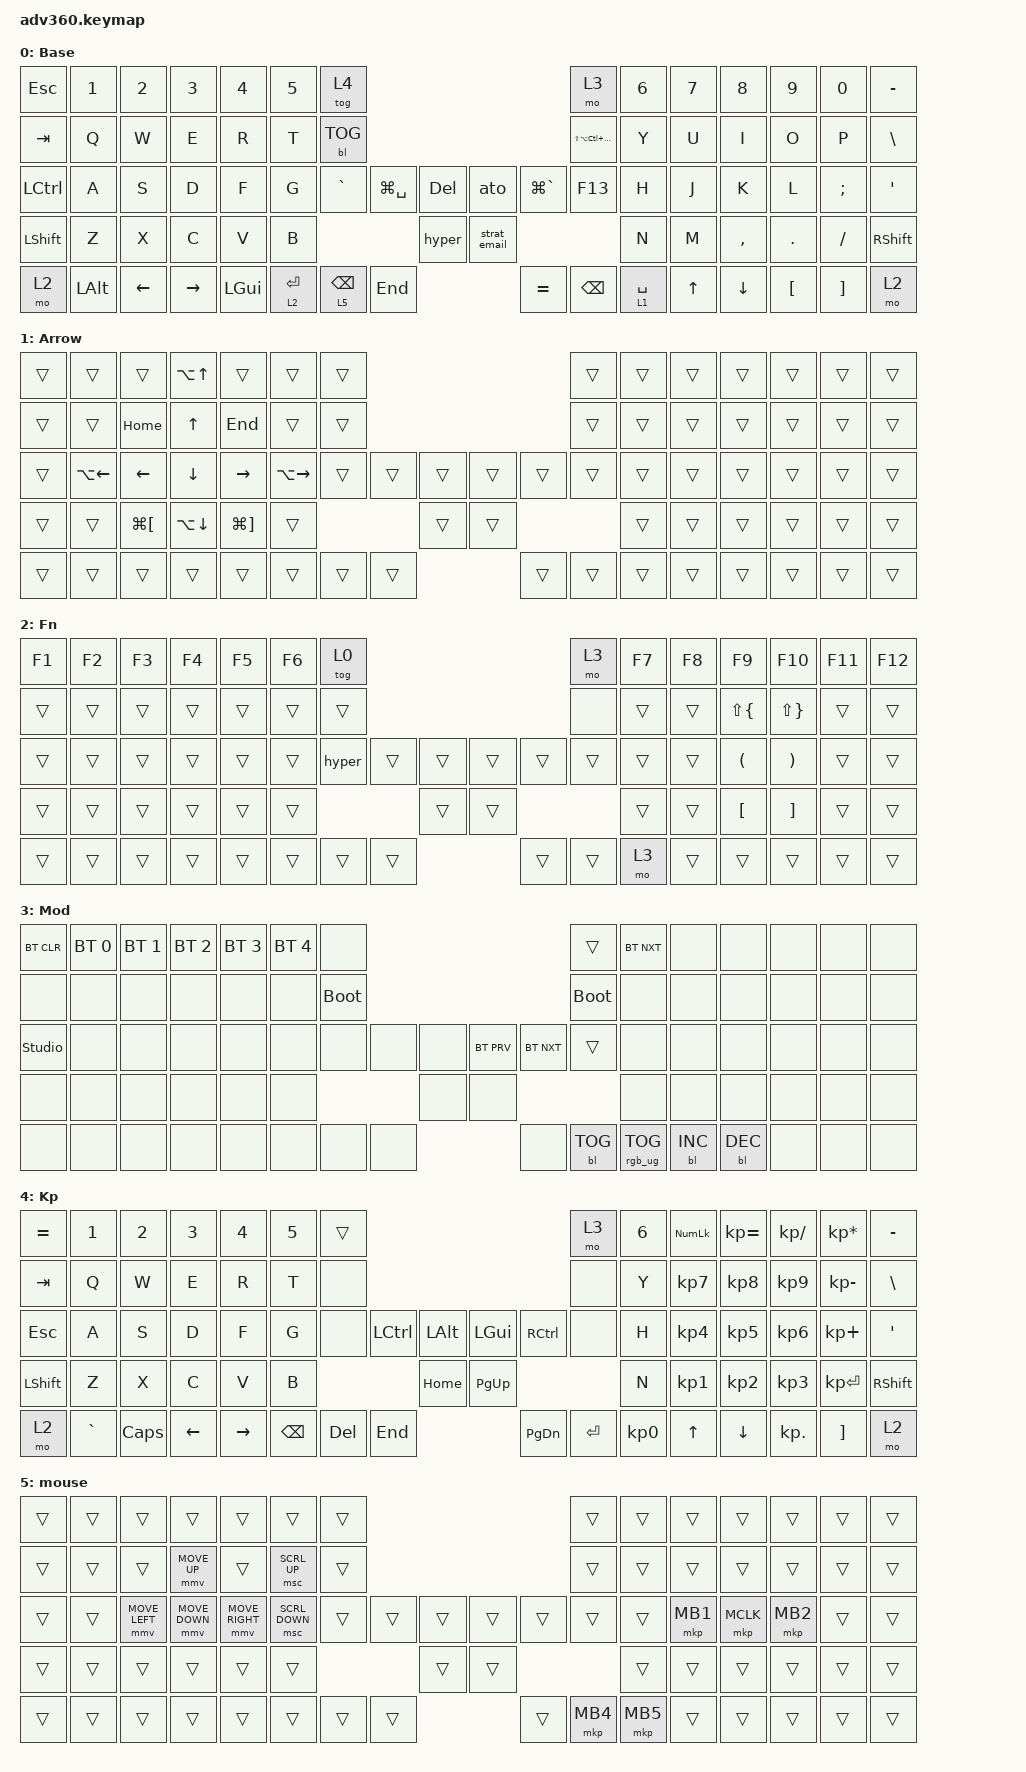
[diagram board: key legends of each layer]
#include <dt-bindings/zmk/stp.h>
#include <behaviors.dtsi>
#include <dt-bindings/zmk/backlight.h>
#include <dt-bindings/zmk/bt.h>
#include <dt-bindings/zmk/keys.h>
#include <dt-bindings/zmk/pointing.h>
#include <dt-bindings/zmk/rgb.h>

/ {
    behaviors {
        #include "macros.dtsi"
      #include "version.dtsi"

        hm: homerow_mods {
            compatible = "zmk,behavior-hold-tap";
            label = "HOMEROW_MODS";
            #binding-cells = <2>;
            tapping-term-ms = <200>;
            quick_tap_ms = <175>;
            flavor = "tap-preferred";
            bindings = <&kp>, <&kp>;
        };
    };

    macros {
        tg: tg {
            compatible = "zmk,behavior-macro";
            #binding-cells = <0>;
            bindings = <&kp LS(T) &kp LS(G) &kp LS(G) &kp LS(U)>;
            label = "TG";
        };

        strat_email: strat_email {
            compatible = "zmk,behavior-macro";
            #binding-cells = <0>;
            bindings = <&kp A &kp N &kp D &kp R &kp E &kp W &kp DOT &kp T &kp H &kp O &kp M &kp P &kp S &kp O &kp N &kp AT &kp S &kp T &kp R &kp A &kp T &kp I &kp F &kp O &kp R &kp M &kp DOT &kp D &kp I &kp G &kp I &kp T &kp A &kp L>;
            label = "STRAT_EMAIL";
        };

        ato: ato {
            compatible = "zmk,behavior-macro";
            #binding-cells = <0>;
            bindings = <&kp A &kp N &kp D &kp R &kp E &kp W &kp DOT &kp M &kp DOT &kp T &kp H &kp O &kp M &kp P &kp S &kp O &kp N &kp AT &kp O &kp U &kp T &kp L &kp O &kp O &kp K &kp DOT &kp C &kp O &kp M>;
            label = "ATO";
        };

        hyper: hyper {
            compatible = "zmk,behavior-macro";
            #binding-cells = <0>;
            bindings = <&kp LA(LC(LG(LEFT_SHIFT)))>, <&macro_press>;

            label = "HYPER";
        };
    };

    keymap {
        compatible = "zmk,keymap";

        Base {
            display-name = "Base";
            bindings = <
&kp ESC    &kp N1        &kp N2    &kp N3     &kp N4        &kp N5  &tog 4                                                                                            &mo 3                  &kp N6  &kp N7  &kp N8     &kp N9    &kp N0    &kp MINUS
&kp TAB    &kp Q         &kp W     &kp E      &kp R         &kp T   &bl BL_TOG                                                                                        &kp LS(LA(LC(LG(W))))  &kp Y   &kp U   &kp I      &kp O     &kp P     &kp BSLH
&kp LCTRL  &kp A         &kp S     &kp D      &kp F         &kp G   &kp GRAVE                &kp LG(SPACE)    &kp DELETE    &ato          &kp LG(GRAVE)               &kp F13                &kp H   &kp J   &kp K      &kp L     &kp SEMI  &kp SQT
&kp LSHFT  &kp Z         &kp X     &kp C      &kp V         &kp B                                             &hyper        &strat_email                                                     &kp N   &kp M   &kp COMMA  &kp DOT   &kp FSLH  &kp RSHFT
&mo 2      &kp LEFT_ALT  &kp LEFT  &kp RIGHT  &kp LEFT_GUI                      &lt 2 ENTER  &lt 5 BACKSPACE  &kp END       &kp EQUAL     &kp BACKSPACE  &lt 1 SPACE                                 &kp UP  &kp DOWN   &kp LBKT  &kp RBKT  &mo 2
            >;
        };

        Arrow {
            bindings = <
&trans  &trans        &trans                &kp LA(UP)    &trans                 &trans         &trans                                                    &trans  &trans  &trans  &trans  &trans  &trans  &trans
&trans  &trans        &kp HOME              &kp UP        &kp END                &trans         &trans                                                    &trans  &trans  &trans  &trans  &trans  &trans  &trans
&trans  &kp LA(LEFT)  &kp LEFT              &kp DOWN      &kp RIGHT              &kp LA(RIGHT)  &trans          &trans  &trans    &trans  &trans          &trans  &trans  &trans  &trans  &trans  &trans  &trans
&trans  &trans        &kp LG(LEFT_BRACKET)  &kp LA(DOWN)  &kp LG(RIGHT_BRACKET)  &trans                                 &trans    &trans                          &trans  &trans  &trans  &trans  &trans  &trans
&trans  &trans        &trans                &trans        &trans                                        &trans  &trans  &trans    &trans  &trans  &trans                  &trans  &trans  &trans  &trans  &trans
            >;
        };

        fn {
            display-name = "Fn";
            bindings = <
&kp F1  &kp F2  &kp F3  &kp F4  &kp F5  &kp F6  &tog 0                                                   &mo 3   &kp F7  &kp F8  &kp F9                &kp F10                &kp F11  &kp F12
&trans  &trans  &trans  &trans  &trans  &trans  &trans                                                   &none   &trans  &trans  &kp LS(LEFT_BRACE)    &kp LS(RIGHT_BRACE)    &trans   &trans
&trans  &trans  &trans  &trans  &trans  &trans  &hyper          &trans  &trans    &trans  &trans         &trans  &trans  &trans  &kp LEFT_PARENTHESIS  &kp RIGHT_PARENTHESIS  &trans   &trans
&trans  &trans  &trans  &trans  &trans  &trans                          &trans    &trans                         &trans  &trans  &kp LEFT_BRACKET      &kp RIGHT_BRACKET      &trans   &trans
&trans  &trans  &trans  &trans  &trans                  &trans  &trans  &trans    &trans  &trans  &mo 3                  &trans  &trans                &trans                 &trans   &trans
            >;
        };

        mod {
            display-name = "Mod";
            bindings = <
&bt BT_CLR      &bt BT_SEL 0  &bt BT_SEL 1  &bt BT_SEL 2  &bt BT_SEL 3  &bt BT_SEL 4  &none                                                                        &trans       &bt BT_NXT  &none       &none       &none  &none  &none
&none           &none         &none         &none         &none         &none         &bootloader                                                                  &bootloader  &none       &none       &none       &none  &none  &none
&studio_unlock  &none         &none         &none         &none         &none         &none               &none  &none    &bt BT_PRV  &bt BT_NXT                   &trans       &none       &none       &none       &none  &none  &none
&none           &none         &none         &none         &none         &none                                    &none    &none                                                 &none       &none       &none       &none  &none  &none
&none           &none         &none         &none         &none                                    &none  &none  &none    &none       &bl BL_TOG  &rgb_ug RGB_TOG                           &bl BL_INC  &bl BL_DEC  &none  &none  &none
            >;
        };

        keypad {
            display-name = "Kp";
            bindings = <
&kp EQUAL  &kp N1     &kp N2    &kp N3    &kp N4     &kp N5  &trans                                                                    &mo 3  &kp N6  &kp KP_NUM  &kp KP_EQUAL  &kp KP_DIVIDE  &kp KP_MULTIPLY  &kp MINUS
&kp TAB    &kp Q      &kp W     &kp E     &kp R      &kp T   &none                                                                     &none  &kp Y   &kp KP_N7   &kp KP_N8     &kp KP_N9      &kp KP_MINUS     &kp BSLH
&kp ESC    &kp A      &kp S     &kp D     &kp F      &kp G   &none             &kp LCTRL  &kp LALT    &kp LGUI   &kp RCTRL             &none  &kp H   &kp KP_N4   &kp KP_N5     &kp KP_N6      &kp KP_PLUS      &kp SQT
&kp LSHFT  &kp Z      &kp X     &kp C     &kp V      &kp B                                &kp HOME    &kp PG_UP                               &kp N   &kp KP_N1   &kp KP_N2     &kp KP_N3      &kp KP_ENTER     &kp RSHFT
&mo 2      &kp GRAVE  &kp CAPS  &kp LEFT  &kp RIGHT                  &kp BSPC  &kp DEL    &kp END     &kp PG_DN  &kp ENTER  &kp KP_N0                 &kp UP      &kp DOWN      &kp KP_DOT     &kp RBKT         &mo 2
            >;
        };

        mouse {
            bindings = <
&trans  &trans  &trans          &trans          &trans           &trans          &trans                                                        &trans  &trans  &trans    &trans     &trans    &trans  &trans
&trans  &trans  &trans          &mmv MOVE_UP    &trans           &msc SCRL_UP    &trans                                                        &trans  &trans  &trans    &trans     &trans    &trans  &trans
&trans  &trans  &mmv MOVE_LEFT  &mmv MOVE_DOWN  &mmv MOVE_RIGHT  &msc SCRL_DOWN  &trans          &trans  &trans    &trans  &trans              &trans  &trans  &mkp MB1  &mkp MCLK  &mkp MB2  &trans  &trans
&trans  &trans  &trans          &trans          &trans           &trans                                  &trans    &trans                              &trans  &trans    &trans     &trans    &trans  &trans
&trans  &trans  &trans          &trans          &trans                                   &trans  &trans  &trans    &trans  &mkp MB4  &mkp MB5                  &trans    &trans     &trans    &trans  &trans
            >;
        };
    };
};
